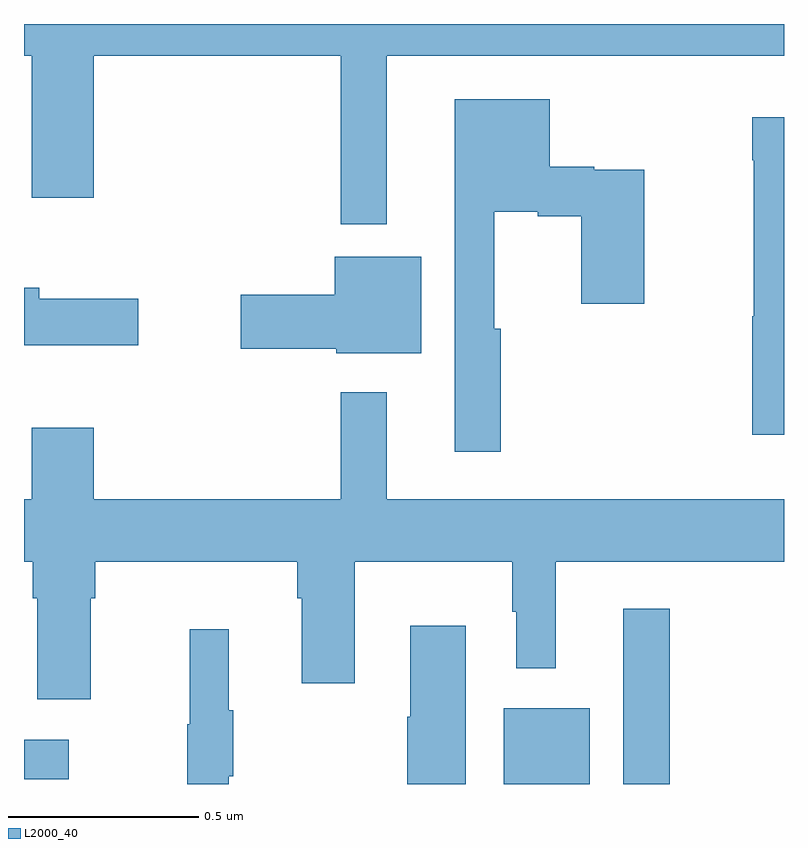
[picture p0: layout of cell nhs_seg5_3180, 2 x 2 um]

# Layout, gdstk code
import gdstk
lib = gdstk.Library(unit=1e-6, precision=1e-09)
def R(c, l, rs):  # rectangles x0, y0, x1, y1
    for r in rs: c.add(gdstk.rectangle(r[:2], r[2:], *l))
def P(c, l, *ps):  # polygons
    for p in ps: c.add(gdstk.Polygon(p, *l))
L2000_40 = (2000, 40)

nhs_seg5_3180 = lib.new_cell('nhs_seg5_3180')
R(nhs_seg5_3180, L2000_40, [(154.262,898.799,154.489,898.999), (154.577,898.799,154.699,899.26), (153,898.811,153.118,898.915)])
P(nhs_seg5_3180, L2000_40, [(153.955,900.716),(155,900.716),(155,900.799),(153,900.799),(153,900.716),(153.02,900.716),(153.02,900.342),(153.184,900.342),(153.184,900.716),(153.834,900.716),(153.834,900.272),(153.955,900.272)],
  [(154.255,899.997),(154.237,899.997),(154.237,900.305),(154.352,900.305),(154.352,900.293),(154.466,900.293),(154.466,900.063),(154.632,900.063),(154.632,900.415),(154.5,900.415),(154.5,900.423),(154.384,900.423),(154.384,900.601),(154.133,900.601),(154.133,899.673),(154.255,899.673)],
  [(155,900.553),(154.916,900.553),(154.916,900.44),(154.921,900.44),(154.921,900.03),(154.916,900.03),(154.916,899.718),(155,899.718)],
  [(154.045,900.187),(153.818,900.187),(153.818,900.086),(153.57,900.086),(153.57,899.944),(153.822,899.944),(153.822,899.933),(154.045,899.933)],
  [(153.301,900.076),(153.04,900.076),(153.04,900.105),(153,900.105),(153,899.954),(153.301,899.954)],
  [(153.175,899.288),(153.188,899.288),(153.188,899.384),(153.719,899.384),(153.719,899.288),(153.731,899.288),(153.731,899.064),(153.871,899.064),(153.871,899.384),(154.285,899.384),(154.285,899.252),(154.295,899.252),(154.295,899.103),(154.399,899.103),(154.399,899.384),(155,899.384),(155,899.548),(153.955,899.548),(153.955,899.83),(153.834,899.83),(153.834,899.548),(153.184,899.548),(153.184,899.737),(153.02,899.737),(153.02,899.548),(153,899.548),(153,899.384),(153.023,899.384),(153.023,899.288),(153.035,899.288),(153.035,899.022),(153.175,899.022)],
  [(154.162,899.215),(154.016,899.215),(154.016,898.976),(154.009,898.976),(154.009,898.799),(154.162,898.799)],
  [(153.539,898.819),(153.55,898.819),(153.55,898.993),(153.539,898.993),(153.539,899.206),(153.436,899.206),(153.436,898.956),(153.429,898.956),(153.429,898.799),(153.539,898.799)])

lib.write_gds('nhs_seg5_3180.gds')
